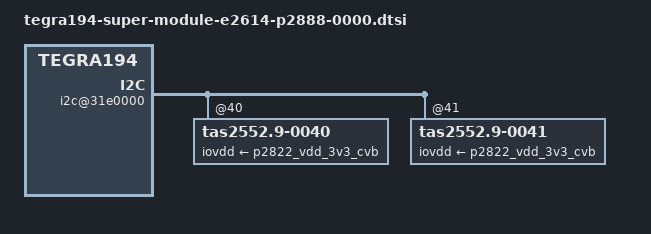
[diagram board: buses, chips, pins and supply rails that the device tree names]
/*
 * tegra194-super-module-e2614-p2888-0000.dtsi: E2600 DTSI file.
 *
 * Copyright (c) 2018, NVIDIA CORPORATION.  All rights reserved.
 *
 * This program is free software; you can redistribute it and/or modify
 * it under the terms of the GNU General Public License as published by
 * the Free Software Foundation; version 2 of the License.
 *
 * This program is distributed in the hope that it will be useful, but WITHOUT
 * ANY WARRANTY; without even the implied warranty of MERCHANTABILITY or
 * FITNESS FOR A PARTICULAR PURPOSE.  See the GNU General Public License for
 * more details.
 */

#include <t19x-common-modules/tegra194-super-module-e2614.dtsi>

/ {
	i2c@31e0000 {
		i2cmux@70 {
			vcc-supply = <&p2822_vdd_3v3_cvb>;
			i2c@0 {
				tas2552.9-0040@40 {
					iovdd-supply = <&p2822_vdd_3v3_cvb>;
				};
				tas2552.9-0041@41 {
					iovdd-supply = <&p2822_vdd_3v3_cvb>;
                                };
			};
		};

	};

	plugin-manager {
		fragment-e2614-common@0 {
			overrides@10 {
				target = <&tegra_sound>;
				_overlay_ {
					nvidia,audio-routing =
						"x Headphone Jack",     "x HPO L Playback",
						"x Headphone Jack",     "x HPO R Playback",
						"x IN1P",               "x Mic Jack",
						"x IN2P",               "x Mic Jack",
						"x Int Spk",            "x SPO Playback",
						"x DMIC L1",            "x Int Mic",
						"x DMIC L2",            "x Int Mic",
						"x DMIC R1",            "x Int Mic",
						"x DMIC R2",            "x Int Mic",
						"y Headphone",          "y HPO L Playback",
						"y Headphone",          "y HPO R Playback",
						"y IN1P",               "y Mic",
						"z Headphone",          "z OUT",
						"z IN",                 "z Mic",
						"m Headphone",          "m OUT",
						"m IN",                 "m Mic",
						"n Headphone",          "n OUT",
						"n IN",                 "n Mic",
						"o Headphone",          "o OUT",
						"o IN",                 "o Mic",
						"a IN",                 "a Mic",
						"b IN",                 "b Mic",
						"c IN",                 "c Mic",
						"d IN",                 "d Mic",
						"d1 Headphone",         "d1 OUT",
						"d2 Headphone",         "d2 OUT";
				};
			};
		};
	};
};
